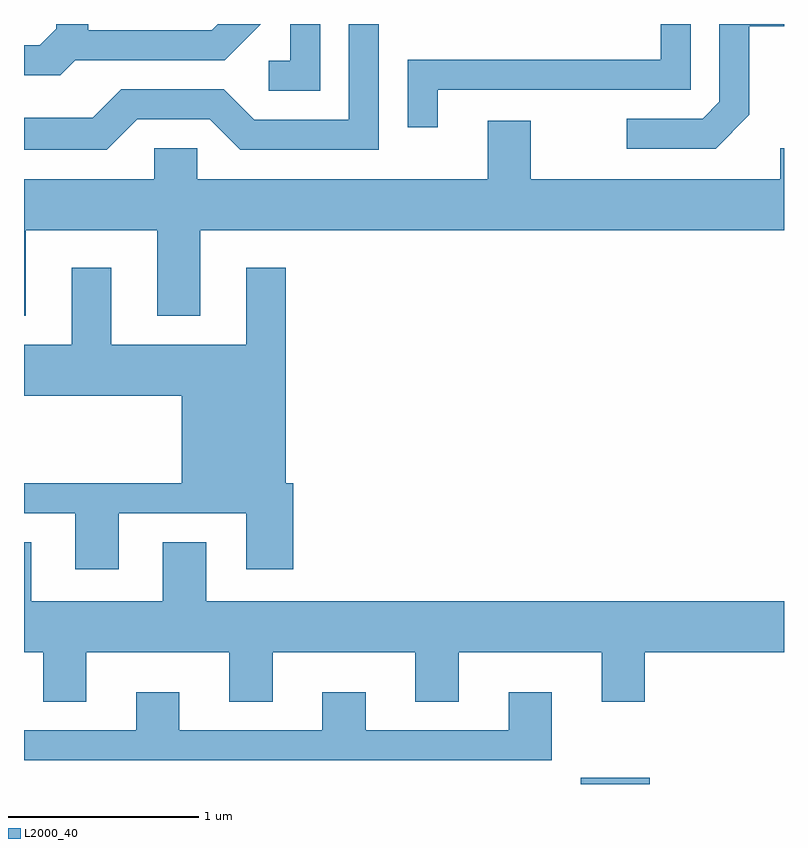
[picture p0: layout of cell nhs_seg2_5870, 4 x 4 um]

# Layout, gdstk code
import gdstk
lib = gdstk.Library(unit=1e-6, precision=1e-09)
def R(c, l, rs):  # rectangles x0, y0, x1, y1
    for r in rs: c.add(gdstk.rectangle(r[:2], r[2:], *l))
def P(c, l, *ps):  # polygons
    for p in ps: c.add(gdstk.Polygon(p, *l))
L2000_40 = (2000, 40)

nhs_seg2_5870 = lib.new_cell('nhs_seg2_5870')
R(nhs_seg2_5870, L2000_40, [(360.541,1089.802,360.904,1089.834)])
P(nhs_seg2_5870, L2000_40, [(357.882,1093.611),(358.667,1093.611),(358.857,1093.802),(358.632,1093.802),(358.599,1093.769),(357.949,1093.769),(357.949,1093.802),(357.781,1093.802),(357.781,1093.777),(357.694,1093.689),(357.611,1093.689),(357.611,1093.531),(357.802,1093.531)],
  [(361.429,1093.324),(361.429,1093.791),(361.611,1093.791),(361.611,1093.802),(361.271,1093.802),(361.271,1093.392),(361.184,1093.304),(360.783,1093.304),(360.783,1093.146),(361.252,1093.146)],
  [(359.789,1093.456),(361.119,1093.456),(361.119,1093.802),(360.961,1093.802),(360.961,1093.614),(359.631,1093.614),(359.631,1093.258),(359.789,1093.258)],
  [(359.169,1093.802),(359.011,1093.802),(359.011,1093.609),(358.898,1093.609),(358.898,1093.451),(359.169,1093.451)],
  [(358.207,1093.301),(358.589,1093.301),(358.749,1093.141),(359.479,1093.141),(359.479,1093.802),(359.321,1093.802),(359.321,1093.299),(358.822,1093.299),(358.662,1093.459),(358.124,1093.459),(357.974,1093.309),(357.611,1093.309),(357.611,1093.141),(358.047,1093.141)],
  [(357.619,1092.716),(358.311,1092.716),(358.311,1092.266),(358.539,1092.266),(358.539,1092.716),(361.611,1092.716),(361.611,1093.149),(361.591,1093.149),(361.591,1092.984),(360.279,1092.984),(360.279,1093.294),(360.051,1093.294),(360.051,1092.984),(358.524,1092.984),(358.524,1093.149),(358.296,1093.149),(358.296,1092.984),(357.611,1092.984),(357.611,1092.266),(357.619,1092.266)],
  [(358.109,1091.226),(358.781,1091.226),(358.781,1090.931),(359.029,1090.931),(359.029,1091.384),(358.989,1091.384),(358.989,1092.519),(358.781,1092.519),(358.781,1092.114),(358.069,1092.114),(358.069,1092.519),(357.861,1092.519),(357.861,1092.114),(357.611,1092.114),(357.611,1091.846),(358.441,1091.846),(358.441,1091.384),(357.611,1091.384),(357.611,1091.226),(357.881,1091.226),(357.881,1090.931),(358.109,1090.931)],
  [(357.939,1090.496),(358.691,1090.496),(358.691,1090.236),(358.919,1090.236),(358.919,1090.496),(359.671,1090.496),(359.671,1090.236),(359.899,1090.236),(359.899,1090.496),(360.651,1090.496),(360.651,1090.236),(360.879,1090.236),(360.879,1090.496),(361.611,1090.496),(361.611,1090.764),(358.569,1090.764),(358.569,1091.074),(358.341,1091.074),(358.341,1090.764),(357.649,1090.764),(357.649,1091.074),(357.611,1091.074),(357.611,1090.496),(357.711,1090.496),(357.711,1090.236),(357.939,1090.236)],
  [(360.389,1090.284),(360.161,1090.284),(360.161,1090.084),(359.409,1090.084),(359.409,1090.284),(359.181,1090.284),(359.181,1090.084),(358.429,1090.084),(358.429,1090.284),(358.201,1090.284),(358.201,1090.084),(357.611,1090.084),(357.611,1089.926),(360.389,1089.926)])

lib.write_gds('nhs_seg2_5870.gds')
